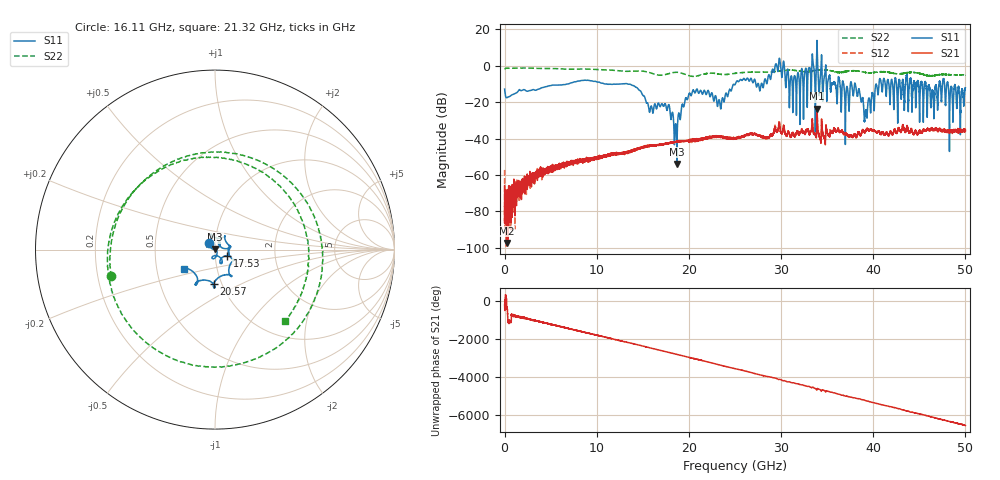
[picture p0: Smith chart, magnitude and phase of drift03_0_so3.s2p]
!Created with skrf (http://scikit-rf.org).
# Hz S RI R 50.0
!freq ReS11 ImS11 ReS21 ImS21 ReS12 ImS12 ReS22 ImS22
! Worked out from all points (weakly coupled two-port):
!   10001 points, 300 kHz to 50 GHz, reference 50 ohm
!   highest |S21| = -23.63 dB at 33.91 GHz (marker M1); lowest = -97.3 dB at 220.3 MHz (marker M2)
!   lowest |S11| = -53.9 dB at 18.7 GHz (marker M3), VSWR 1.00, Z = 50 + j0.201 ohm
!   |S11| at or under -10 dB: start of sweep to 6.963 GHz; 13.3 GHz to 25.05 GHz (11.75 GHz wide, 61.3 % of centre); 38.05 GHz to 40.62 GHz (2.567 GHz wide, 6.53 % of centre) (the widest 3 of 56)
!   |S22| runs from -6.0 to -1.3 dB; largest |S21 - S12| = 0.0068
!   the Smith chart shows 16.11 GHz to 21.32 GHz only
!   S11 on the Smith chart (normalised r, x): 16.11 GHz: 0.94, +0.07; 17.53 GHz: 1.14, -0.08; 20.57 GHz: 0.92, -0.37; 21.32 GHz: 0.69, -0.15
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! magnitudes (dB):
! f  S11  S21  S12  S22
! 300 kHz  -12.9  -65.8  -57.2  -2.1
! 220.3 MHz  -17.6  -97.3  -75.1  -1.4
! 8.335 GHz  -8.2  -51.8  -52.6  -1.9
! 13.82 GHz  -10.7  -46.6  -46.6  -3.1
! 16.11 GHz  -26.0  -43.8  -44.0  -4.5
! 16.67 GHz  -20.6  -43.4  -43.5  -5.2
! 17.53 GHz  -22.5  -43.0  -42.7  -4.8
! 18.7 GHz  -53.9  -41.7  -41.8  -3.7
! 20.57 GHz  -14.3  -40.5  -40.8  -5.9
! 21.32 GHz  -13.9  -40.7  -40.1  -5.1
! 23.29 GHz  -18.8  -39.2  -39.0  -4.7
! 25 GHz  -10.5  -39.7  -39.7  -4.3
! 27.87 GHz  -9.7  -38.4  -39.2  -3.6
! 29.68 GHz  -3.0  -34.9  -35.0  -3.1
! 31.47 GHz  -5.5  -38.7  -38.8  -2.6
! 33.34 GHz  -1.1  -33.1  -33.2  -2.9
! 33.91 GHz  13.3  -23.6  -24.1  -2.6
! 38.2 GHz  -14.8  -38.8  -39.1  -2.9
! 39.17 GHz  -24.8  -36.1  -35.6  -3.8
! 40.53 GHz  -15.9  -36.0  -36.3  -3.5
! 41.67 GHz  -9.3  -38.7  -38.3  -3.7
! 50 GHz  -12.2  -36.0  -35.4  -5.0
